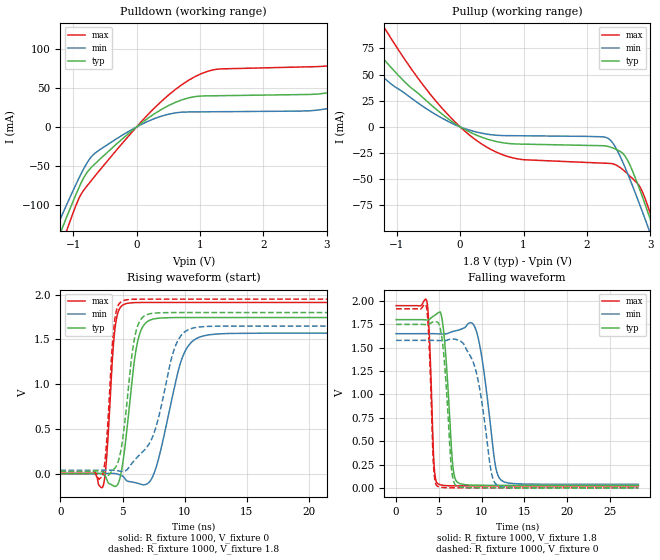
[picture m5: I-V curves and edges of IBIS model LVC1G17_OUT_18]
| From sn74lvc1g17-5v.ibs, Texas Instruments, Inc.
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[Model]   LVC1G17_OUT_18
Model_type  Output
Vref =   0
Rref =   1000
Cref =   30p
Vmeas =   0.9
| variable   typ   min   max
C_comp   9.87pF   6.40pF   15.76pF
| C_pullup   9.16pF   6.40pF   10.36pF
| C_pulldown   10.57pF   6.59pF   15.76pF
[Temperature Range]   40   100   -40
| Ambient temperature   25   85   -40
[Voltage range]   1.8   1.65   1.95
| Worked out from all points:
|   slope of the pulldown table from 0 to 0.27 V, typ, clamps not added: 16.6 ohm
|   slope of the pullup table from 0 to 0.27 V, typ, clamps not added: 33 ohm
|   rising waveform, R_fixture 1000, V_fixture 0: 20-80 % time 867ps typ, 1.55ns min, 504ps max; typ from 0 V to 1.74 V
|   falling waveform, R_fixture 1000, V_fixture 1.8: 20-80 % time 717ps typ, 1.28ns min, 432ps max; typ from 1.8 V to 0.027 V
|   rising waveform, R_fixture 1000, V_fixture 1.8: 20-80 % time 874ps typ, 1.77ns min, 504ps max; typ from 0.027 V to 1.8 V
|   falling waveform, R_fixture 1000, V_fixture 0: 20-80 % time 749ps typ, 1.58ns min, 436ps max; typ from 1.75 V to 0 V
[Pulldown]
| LVC1G17_OUT_18
|   Voltage   I(typ)   I(min)   I(max)
-5.5V     -1.024A    -932.8mA   -1.143A
-1.25V    -145.7mA   -126.9mA   -167.2mA
-1.105V   -116mA     -100.2mA   -133.6mA
-650mV    -46.91mA   -33.3mA    -62.35mA
825mV     37.35mA    19.19mA    60.06mA
3.115V    45.49mA    25.17mA    79.66mA
3.755V    64.52mA    35.93mA    102.7mA
4.19V     79.14mA    21.53mA    128.2mA
4.47V     45.47mA    21.68mA    146.2mA
4.725V    44.49mA    21.83mA    131.7mA
5.01V     44.71mA    22mA       83.05mA
11V       50.72mA    25.33mA    92.94mA
[Pullup]
| LVC1G17_OUT_18
|   Voltage   I(typ)   I(min)   I(max)
-5.5V     449.7mA    254mA      638.5mA
-2.225V   143.3mA    107.6mA    207.3mA
-1.755V   105.1mA    78.04mA    153.5mA
-1.195V   63.95mA    46.44mA    94.81mA
-375mV    16.75mA    11.48mA    24.15mA
420mV     -11.47mA   -6.842mA   -19.31mA
2.34V     -18.76mA   -11.2mA    -34.79mA
2.645V    -32.43mA   -45.25mA   -45.19mA
2.84V     -61.19mA   -75.65mA   -57.82mA
2.99V     -86.8mA    -100.4mA   -81.09mA
3.08V     -102.8mA   -115.6mA   -97.77mA
11V       -1.709A    -1.61A     -1.847A
[Ramp]
| LVC1G17_OUT_18
| variable   typ   min   max
dV/dt_r   1.13/9.34E-10   1.02/1.66E-09   1.24/5.48E-10
dV/dt_f   1.11/7.65E-10   1.04/1.40E-09   1.20/4.56E-10
R_load = 1000
[Rising Waveform]
| LVC1G17_OUT_18
R_fixture =   1000
C_fixture =   0
L_fixture =   0
V_fixture =   0
V_fixture_min = 0
V_fixture_max = 0
|   Time   V(typ)   V(min)   V(max)
0s        112.7pV    7.663nV    3.037nV
3.43ns    -9.976mV   1.642mV    -141.3mV
3.72ns    -61.14mV   1.762mV    178.1mV
4.38ns    -144mV     242.8uV    1.605V
5.105ns   200.8mV    -40.14mV   1.89V
6.14ns    1.424V     -105.6mV   1.912V
7.165ns   1.712V     -94.43mV   1.913V
9.7ns     1.744V     1.25V      1.913V
10.93ns   1.744V     1.508V     1.913V
28.3ns    1.744V     1.569V     1.913V
[Falling Waveform]
| LVC1G17_OUT_18
R_fixture =   1000
C_fixture =   0
L_fixture =   0
V_fixture =   1.8
V_fixture_min = 1.65
V_fixture_max = 1.95
|   Time   V(typ)   V(min)   V(max)
0s        1.8V       1.65V      1.95V
3.59ns    1.797V     1.65V      1.995V
4.42ns    1.841V     1.65V      267.9mV
4.885ns   1.873V     1.648V     43.12mV
5.515ns   1.707V     1.646V     26.51mV
6.585ns   274.6mV    1.672V     21.85mV
7.17ns    58.71mV    1.686V     21.38mV
9.42ns    28.41mV    1.664V     21.1mV
12.29ns   27.07mV    80.62mV    21.09mV
28.3ns    26.98mV    37.16mV    21.09mV
[Rising Waveform]
| LVC1G17_OUT_18
R_fixture =   1000
C_fixture =   0
L_fixture =   0
V_fixture =   1.8
V_fixture_min = 1.65
V_fixture_max = 1.95
|   Time   V(typ)   V(min)   V(max)
0s        26.95mV    37.1mV     21.07mV
3.375ns   21.98mV    38.58mV    -24.31mV
3.69ns    -6.583mV   38.61mV    299.8mV
4.32ns    52.68mV    37.61mV    1.662V
4.99ns    364.6mV    24.06mV    1.929V
5.96ns    1.51V      148.7mV    1.949V
6.905ns   1.774V     283.6mV    1.95V
9.19ns    1.8V       1.399V     1.95V
10.32ns   1.8V       1.61V      1.95V
28.3ns    1.8V       1.65V      1.95V
[Falling Waveform]
| LVC1G17_OUT_18
R_fixture =   1000
C_fixture =   0
L_fixture =   0
V_fixture =   0
V_fixture_min = 0
V_fixture_max = 0
|   Time   V(typ)   V(min)   V(max)
0s        1.749V     1.578V     1.916V
3.55ns    1.747V     1.578V     1.937V
4.375ns   1.778V     1.578V     232.8mV
4.805ns   1.774V     1.577V     19.23mV
5.435ns   1.543V     1.576V     4.304mV
6.445ns   229.2mV    1.593V     608uV
7ns       25.11mV    1.588V     242.3uV
9.265ns   710.3uV    1.272V     26.21uV
11.74ns   80.33uV    32.49mV    19.51uV
28.3ns    21.84uV    43.84uV    13.47uV
